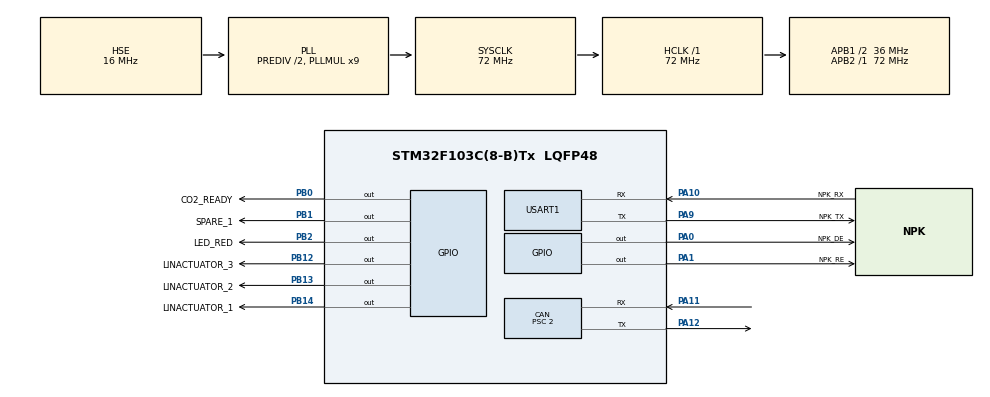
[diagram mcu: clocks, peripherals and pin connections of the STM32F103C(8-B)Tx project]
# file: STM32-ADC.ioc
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CAN.BS1=CAN_BS1_15TQ
CAN.BS2=CAN_BS2_2TQ
CAN.CalculateBaudRate=1000000
CAN.CalculateTimeBit=1000
CAN.CalculateTimeQuantum=55.55555555555556
CAN.NART=ENABLE
CAN.Prescaler=2
CAN.SJW=CAN_SJW_2TQ
Mcu.Family=STM32F1
Mcu.Name=STM32F103C(8-B)Tx
Mcu.Package=LQFP48
NVIC.PriorityGroup=NVIC_PRIORITYGROUP_4
NVIC.USB_LP_CAN1_RX0_IRQn=true\:0\:0\:false\:false\:true\:true\:true\:true
PA0-WKUP.GPIO_Label=NPK_DE
PA0-WKUP.Signal=GPIO_Output
PA1.GPIO_Label=NPK_RE
PA1.Signal=GPIO_Output
PA10.GPIO_Label=NPK_RX
PA10.Mode=Asynchronous
PA10.Signal=USART1_RX
PA11.Mode=CAN_Activate
PA11.Signal=CAN_RX
PA12.Mode=CAN_Activate
PA12.Signal=CAN_TX
PA13.GPIO_Label=J7_SWDIO
PA13.Mode=Serial_Wire
PA13.Signal=SYS_JTMS-SWDIO
PA14.GPIO_Label=J7_SWCLK
PA14.Mode=Serial_Wire
PA14.Signal=SYS_JTCK-SWCLK
PA9.GPIO_Label=NPK_TX
PA9.Mode=Asynchronous
PA9.Signal=USART1_TX
PB0.GPIO_Label=CO2_READY
PB0.Signal=GPIO_Output
PB1.GPIO_Label=SPARE_1
PB1.Signal=GPIO_Output
PB12.GPIO_Label=LINACTUATOR_3
PB12.Signal=GPIO_Output
PB13.GPIO_Label=LINACTUATOR_2
PB13.Signal=GPIO_Output
PB14.GPIO_Label=LINACTUATOR_1
PB14.Signal=GPIO_Output
PB2.GPIO_Label=LED_RED
PB2.Signal=GPIO_Output
PD0-OSC_IN.Mode=HSE-External-Oscillator
PD0-OSC_IN.Signal=RCC_OSC_IN
PD1-OSC_OUT.Mode=HSE-External-Oscillator
PD1-OSC_OUT.Signal=RCC_OSC_OUT
ProjectManager.HeapSize=0x200
ProjectManager.StackSize=0x400
ProjectManager.TargetToolchain=STM32CubeIDE
RCC.ADCPresc=RCC_ADCPCLK2_DIV8
RCC.AHBFreq_Value=72000000
RCC.APB1CLKDivider=RCC_HCLK_DIV2
RCC.APB1Freq_Value=36000000
RCC.APB1TimFreq_Value=72000000
RCC.APB2Freq_Value=72000000
RCC.APB2TimFreq_Value=72000000
RCC.HCLKFreq_Value=72000000
RCC.HSEDivPLL=RCC_HSE_PREDIV_DIV2
RCC.HSE_VALUE=16000000
RCC.PLLMUL=RCC_PLL_MUL9
RCC.PLLSourceVirtual=RCC_PLLSOURCE_HSE
RCC.SYSCLKFreq_VALUE=72000000
RCC.SYSCLKSource=RCC_SYSCLKSOURCE_PLLCLK
RCC.USBFreq_Value=72000000
USART1.VirtualMode=VM_ASYNC
board=custom

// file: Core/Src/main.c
/* USER CODE BEGIN Header */
/**
 ******************************************************************************
 * @file           : main.c
 * @brief          : Main program body
 ******************************************************************************
 * @attention
 *
 * Copyright (c) 2024 STMicroelectronics.
 * All rights reserved.
 *
 * This software is licensed under terms that can be found in the LICENSE file
 * in the root directory of this software component.
 * If no LICENSE file comes with this software, it is provided AS-IS.
 *
 ******************************************************************************
 */
/* USER CODE END Header */
#include "main.h"

/* USER CODE BEGIN PD */
#define ADC_BUF_LEN 2
/* USER CODE END PD */

CAN_HandleTypeDef hcan;

UART_HandleTypeDef huart1;

/* USER CODE BEGIN PV */
// CAN Tx
CAN_TxHeaderTypeDef TxHeader;
uint8_t TxData[8];
uint32_t TxMailbox;

// CAN Rx
CAN_FilterTypeDef canfilterconfig;
CAN_RxHeaderTypeDef RxHeader;
uint8_t RxData[8];

// ADC
uint16_t adc_buf[ADC_BUF_LEN];
uint16_t gpio_in_buf[ADC_BUF_LEN];
/* USER CODE END PV */

void SystemClock_Config(void);
static void MX_GPIO_Init(void);
static void MX_CAN_Init(void);
static void MX_USART1_UART_Init(void);

/* USER CODE BEGIN 0 */

void setupTxCAN()
{
    TxHeader.StdId = 0x321;
    TxHeader.ExtId = 0x01;
    TxHeader.RTR = CAN_RTR_DATA;
    TxHeader.IDE = CAN_ID_EXT;
    TxHeader.DLC = 8;
    TxHeader.TransmitGlobalTime = DISABLE;

    TxData[0] = 0xA0;
    TxData[1] = 0xA1;
    TxData[2] = 0xA2;
    TxData[3] = 0xA3;
    TxData[4] = 0xA4;
    TxData[5] = 0xA5;
    TxData[6] = 0xA6;
    TxData[7] = 0xA7;
}

void setupRxCAN()
{
    canfilterconfig.FilterBank = 0;
    canfilterconfig.FilterMode = CAN_FILTERMODE_IDMASK;
    canfilterconfig.FilterScale = CAN_FILTERSCALE_32BIT;
    canfilterconfig.FilterIdHigh = 0x0000;
    canfilterconfig.FilterIdLow = 0x0000;
    canfilterconfig.FilterMaskIdHigh = 0x0000;
    canfilterconfig.FilterMaskIdLow = 0x0000;
    canfilterconfig.FilterFIFOAssignment = CAN_RX_FIFO0;
    canfilterconfig.FilterActivation = ENABLE;
    canfilterconfig.SlaveStartFilterBank = 14;

    HAL_CAN_ConfigFilter(&hcan, &canfilterconfig);
    HAL_CAN_ActivateNotification(&hcan, CAN_IT_RX_FIFO0_MSG_PENDING); //enable interrupts
}

void txCAN()
{
    HAL_StatusTypeDef can_result = HAL_CAN_AddTxMessage(&hcan, &TxHeader,
            TxData, &TxMailbox);
    if (can_result != HAL_OK)
    {
        Error_Handler();
    }
}

/**
 * @brief  Rx Fifo 0 message pending callback in non blocking mode
 * @param  CanHandle: pointer to a CAN_HandleTypeDef structure that contains
 *         the configuration information for the specified CAN.
 * @retval None
 */
void HAL_CAN_RxFifo0MsgPendingCallback(CAN_HandleTypeDef *CanHandle)
{
    /* Get RX message */
    if (HAL_CAN_GetRxMessage(CanHandle, CAN_RX_FIFO0, &RxHeader, RxData)
            != HAL_OK)
    {
        /* Reception Error */
        Error_Handler();
    }

    HAL_GPIO_TogglePin(GPIOB, GPIO_PIN_2);
    // Echo received CAN message
    HAL_CAN_AddTxMessage(&hcan, &TxHeader, RxData, &TxMailbox);
}

/* USER CODE END 0 */

int main(void)
{

  /* MCU Configuration--------------------------------------------------------*/

  /* Reset of all peripherals, Initializes the Flash interface and the Systick. */
  HAL_Init();

  /* Configure the system clock */
  SystemClock_Config();

  /* Initialize all configured peripherals */
  MX_GPIO_Init();
  MX_CAN_Init();
  MX_USART1_UART_Init();
  /* USER CODE BEGIN 2 */
    setupTxCAN();
    setupRxCAN();

  /* USER CODE END 2 */

  /* Infinite loop */
  /* USER CODE BEGIN WHILE */
    while (1)
    {

    HAL_GPIO_WritePin(CO2_READY_GPIO_Port, CO2_READY_Pin, GPIO_PIN_RESET);
    HAL_GPIO_WritePin(SPARE_1_GPIO_Port, SPARE_1_Pin, GPIO_PIN_SET);
    HAL_GPIO_WritePin(LED_RED_GPIO_Port, LED_RED_Pin, GPIO_PIN_SET);

    HAL_GPIO_WritePin(LINACTUATOR_1_GPIO_Port, LINACTUATOR_1_Pin, GPIO_PIN_SET);
    HAL_GPIO_WritePin(LINACTUATOR_2_GPIO_Port, LINACTUATOR_2_Pin, GPIO_PIN_SET);
    HAL_GPIO_WritePin(LINACTUATOR_3_GPIO_Port, LINACTUATOR_3_Pin, GPIO_PIN_SET);

    HAL_GPIO_WritePin(NPK_DE_GPIO_Port, NPK_DE_Pin, GPIO_PIN_SET);
    HAL_GPIO_WritePin(NPK_RE_GPIO_Port, NPK_RE_Pin, GPIO_PIN_RESET);

//
//		TxData[0] = 0x01; //First bit 1 signifies GPIO
//		TxData[1] = 0x00; // Second bit signifies channel number
//		TxData[2] = 0x00;
//		TxData[3] = 0x00;
//		TxData[4] = 0x00;
//		TxData[5] = 0x00;
//		TxData[6] = 0x00;
//		TxData[7] = gpio_in_buf[0] & 0x08;
//
//		txCAN();
//
//		TxData[0] = 0x01; //First bit 1 signifies GPIO
//		TxData[1] = 0x01; // Second bit signifies channel number
//		TxData[2] = 0x00;
//		TxData[3] = 0x00;
//		TxData[4] = 0x00;
//		TxData[5] = 0x00;
//		TxData[6] = 0x00;
//		TxData[7] = gpio_in_buf[1] & 0x08;
//
//		txCAN();
        HAL_Delay(500);
    /* USER CODE END WHILE */

    }
}

void SystemClock_Config(void)
{
  RCC_OscInitTypeDef RCC_OscInitStruct = {0};
  RCC_ClkInitTypeDef RCC_ClkInitStruct = {0};

  /** Initializes the RCC Oscillators according to the specified parameters
  * in the RCC_OscInitTypeDef structure.
  */
  RCC_OscInitStruct.OscillatorType = RCC_OSCILLATORTYPE_HSE;
  RCC_OscInitStruct.HSEState = RCC_HSE_ON;
  RCC_OscInitStruct.HSEPredivValue = RCC_HSE_PREDIV_DIV2;
  RCC_OscInitStruct.HSIState = RCC_HSI_ON;
  RCC_OscInitStruct.PLL.PLLState = RCC_PLL_ON;
  RCC_OscInitStruct.PLL.PLLSource = RCC_PLLSOURCE_HSE;
  RCC_OscInitStruct.PLL.PLLMUL = RCC_PLL_MUL9;
  if (HAL_RCC_OscConfig(&RCC_OscInitStruct) != HAL_OK)
  {
    Error_Handler();
  }

  /** Initializes the CPU, AHB and APB buses clocks
  */
  RCC_ClkInitStruct.ClockType = RCC_CLOCKTYPE_HCLK|RCC_CLOCKTYPE_SYSCLK
                              |RCC_CLOCKTYPE_PCLK1|RCC_CLOCKTYPE_PCLK2;
  RCC_ClkInitStruct.SYSCLKSource = RCC_SYSCLKSOURCE_PLLCLK;
  RCC_ClkInitStruct.AHBCLKDivider = RCC_SYSCLK_DIV1;
  RCC_ClkInitStruct.APB1CLKDivider = RCC_HCLK_DIV2;
  RCC_ClkInitStruct.APB2CLKDivider = RCC_HCLK_DIV1;

  if (HAL_RCC_ClockConfig(&RCC_ClkInitStruct, FLASH_LATENCY_2) != HAL_OK)
  {
    Error_Handler();
  }
}

static void MX_CAN_Init(void)
{

  hcan.Instance = CAN1;
  hcan.Init.Prescaler = 2;
  hcan.Init.Mode = CAN_MODE_NORMAL;
  hcan.Init.SyncJumpWidth = CAN_SJW_2TQ;
  hcan.Init.TimeSeg1 = CAN_BS1_15TQ;
  hcan.Init.TimeSeg2 = CAN_BS2_2TQ;
  hcan.Init.TimeTriggeredMode = DISABLE;
  hcan.Init.AutoBusOff = DISABLE;
  hcan.Init.AutoWakeUp = DISABLE;
  hcan.Init.AutoRetransmission = ENABLE;
  hcan.Init.ReceiveFifoLocked = DISABLE;
  hcan.Init.TransmitFifoPriority = DISABLE;
  if (HAL_CAN_Init(&hcan) != HAL_OK)
  {
    Error_Handler();
  }
  /* USER CODE BEGIN CAN_Init 2 */

    if (HAL_CAN_Start(&hcan) != HAL_OK)
    {
        /* Start Error */
        Error_Handler();
    }

  /* USER CODE END CAN_Init 2 */

}

static void MX_USART1_UART_Init(void)
{

  huart1.Instance = USART1;
  huart1.Init.BaudRate = 115200;
  huart1.Init.WordLength = UART_WORDLENGTH_8B;
  huart1.Init.StopBits = UART_STOPBITS_1;
  huart1.Init.Parity = UART_PARITY_NONE;
  huart1.Init.Mode = UART_MODE_TX_RX;
  huart1.Init.HwFlowCtl = UART_HWCONTROL_NONE;
  huart1.Init.OverSampling = UART_OVERSAMPLING_16;
  if (HAL_UART_Init(&huart1) != HAL_OK)
  {
    Error_Handler();
  }

}

static void MX_GPIO_Init(void)
{
  GPIO_InitTypeDef GPIO_InitStruct = {0};

  /* GPIO Ports Clock Enable */
  __HAL_RCC_GPIOD_CLK_ENABLE();
  __HAL_RCC_GPIOA_CLK_ENABLE();
  __HAL_RCC_GPIOB_CLK_ENABLE();

  /*Configure GPIO pin Output Level */
  HAL_GPIO_WritePin(GPIOA, NPK_DE_Pin|NPK_RE_Pin, GPIO_PIN_RESET);

  /*Configure GPIO pin Output Level */
  HAL_GPIO_WritePin(GPIOB, CO2_READY_Pin|SPARE_1_Pin|LED_RED_Pin|LINACTUATOR_3_Pin
                          |LINACTUATOR_2_Pin|LINACTUATOR_1_Pin, GPIO_PIN_RESET);

  /*Configure GPIO pins : NPK_DE_Pin NPK_RE_Pin */
  GPIO_InitStruct.Pin = NPK_DE_Pin|NPK_RE_Pin;
  GPIO_InitStruct.Mode = GPIO_MODE_OUTPUT_PP;
  GPIO_InitStruct.Pull = GPIO_NOPULL;
  GPIO_InitStruct.Speed = GPIO_SPEED_FREQ_LOW;
  HAL_GPIO_Init(GPIOA, &GPIO_InitStruct);

  /*Configure GPIO pins : CO2_READY_Pin SPARE_1_Pin LED_RED_Pin LINACTUATOR_3_Pin
                           LINACTUATOR_2_Pin LINACTUATOR_1_Pin */
  GPIO_InitStruct.Pin = CO2_READY_Pin|SPARE_1_Pin|LED_RED_Pin|LINACTUATOR_3_Pin
                          |LINACTUATOR_2_Pin|LINACTUATOR_1_Pin;
  GPIO_InitStruct.Mode = GPIO_MODE_OUTPUT_PP;
  GPIO_InitStruct.Pull = GPIO_NOPULL;
  GPIO_InitStruct.Speed = GPIO_SPEED_FREQ_LOW;
  HAL_GPIO_Init(GPIOB, &GPIO_InitStruct);

}

void Error_Handler(void)
{
    __disable_irq();
    while (1)
    {
    }
}
